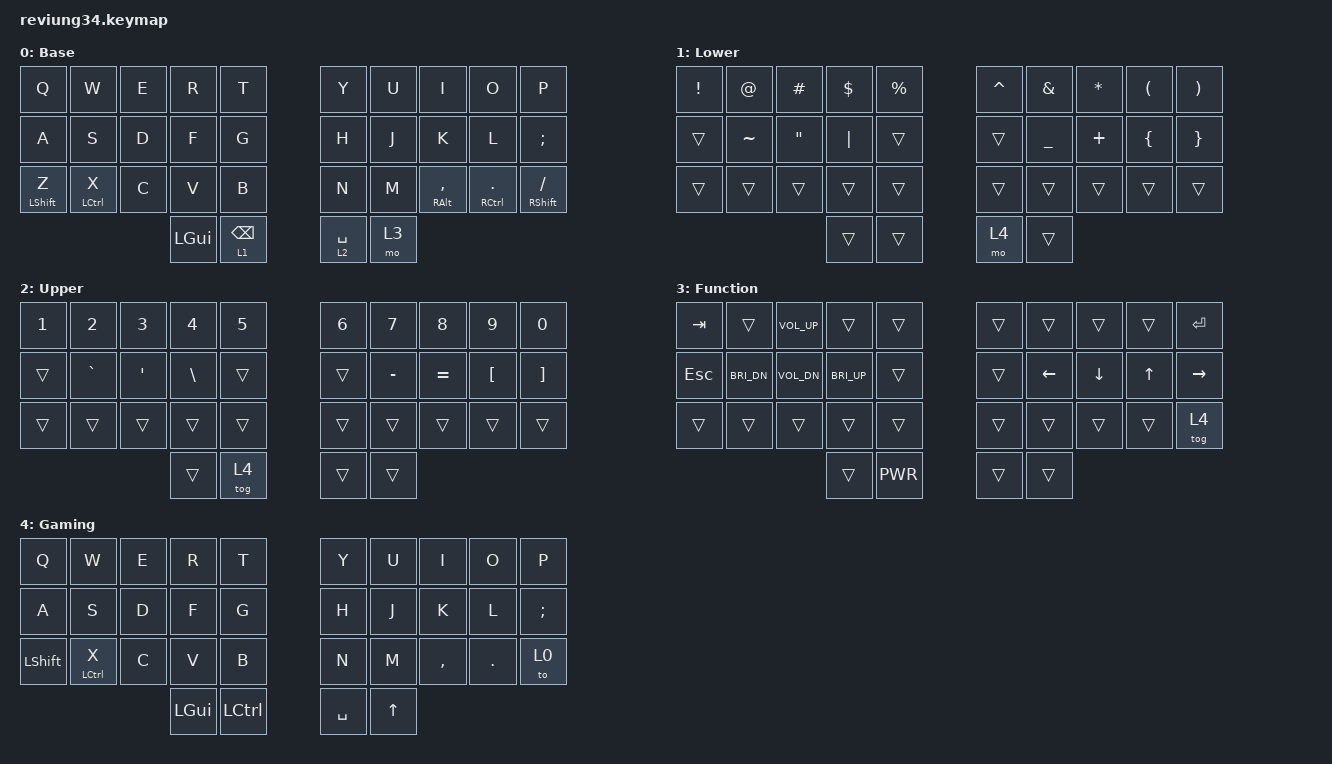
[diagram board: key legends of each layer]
/*
 * Copyright (c) 2023 The ZMK Contributors
 *
 * SPDX-License-Identifier: MIT
 */

#include <behaviors.dtsi>
#include <dt-bindings/zmk/bt.h>
#include <dt-bindings/zmk/keys.h>
#include <dt-bindings/zmk/rgb.h>

/ {
    chosen {
        // 34 keys.
        zmk,matrix-transform = &dual_1u_transform;

        // 33 keys. Center two thumb keys replaced by a single 2u key. Remember to adjust your
        // keymap accordingly!
        // zmk,matrix-transform = &single_2u_transform;
    };
};

/ {
    keymap {
        compatible = "zmk,keymap";

        base {
            display-name = "Base";
            bindings = <
&kp Q       &kp W       &kp E      &kp R &kp T    &kp Y      &kp U       &kp I          &kp O         &kp P
&kp A       &kp S       &kp D      &kp F &kp G    &kp H      &kp J       &kp K          &kp L         &kp SEMI
&mt LSHFT Z &mt LCTRL X &kp C &kp V &kp B    &kp N      &kp M       &mt RALT COMMA &mt RCTRL DOT &mt RSHFT SLASH
                                   &kp LGUI       &lt 1 BSPC &lt 2 SPACE &mo 3
            >;
        };

        lower {
            display-name = "Lower";
            bindings = <
&kp EXCL &kp AT    &kp HASH &kp DLLR &kp PRCNT &kp CARET &kp AMPS  &kp ASTRK &kp LPAR &kp RPAR
&trans   &kp TILDE &kp DQT  &kp PIPE &trans    &trans    &kp UNDER &kp PLUS  &kp LBRC &kp RBRC
&trans   &trans    &trans   &trans   &trans    &trans    &trans    &trans    &trans   &trans
                            &trans   &trans    &mo 4    &trans
            >;
        };

        upper {
            display-name = "Upper";
            bindings = <
&kp N1 &kp N2    &kp N3  &kp N4   &kp N5 &kp N6 &kp N7    &kp N8    &kp N9   &kp N0
&trans &kp GRAVE &kp SQT &kp BSLH &trans &trans &kp MINUS &kp EQUAL &kp LBKT &kp RBKT
&trans &trans    &trans  &trans   &trans &trans &trans    &trans    &trans   &trans
                         &trans   &tog 4  &trans  &trans
            >;
        };

        function {
            display-name = "Function";
            bindings = <
&kp TAB &trans       &kp C_VOL_UP &trans       &trans    &trans &trans   &trans   &trans &kp ENTER
&kp ESC &kp C_BRI_DN &kp C_VOL_DN &kp C_BRI_UP &trans    &trans &kp LEFT &kp DOWN &kp UP &kp RIGHT
&trans  &trans       &trans       &trans       &trans    &trans &trans   &trans   &trans &tog 4
                                  &trans       &kp C_PWR &trans &trans
            >;
        };

        meta {
            display-name = "Gaming";
            bindings = <
&kp Q       &kp W       &kp E      &kp R &kp T    &kp Y      &kp U       &kp I          &kp O         &kp P
&kp A       &kp S       &kp D      &kp F &kp G    &kp H      &kp J       &kp K          &kp L         &kp SEMI
&kp LSHFT   &mt LCTRL X &kp C      &kp V &kp B    &kp N      &kp M       &kp COMMA      &kp DOT       &to 0 
                                   &kp LGUI       &kp LCTRL  &kp SPACE   &kp UP
            >;
        };
    };
};
